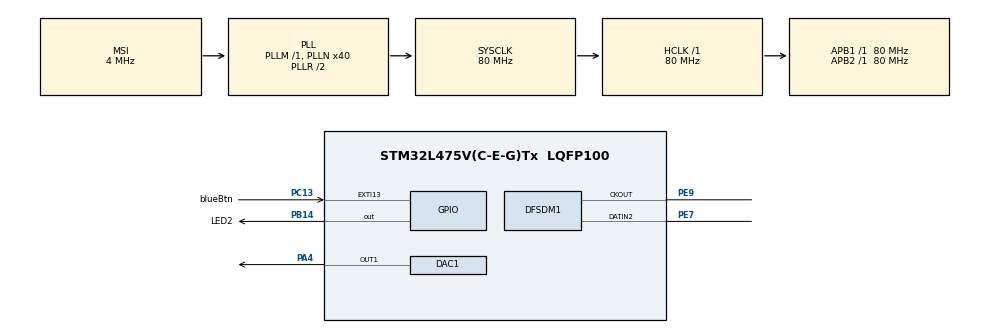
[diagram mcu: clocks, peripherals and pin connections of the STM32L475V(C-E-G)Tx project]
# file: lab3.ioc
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DAC1.DAC_SampleAndHold-DAC_OUT1=DAC_SAMPLEANDHOLD_DISABLE
DAC1.DAC_Trigger-DAC_OUT1=DAC_TRIGGER_T2_TRGO
DAC1.DAC_UserTrimming-DAC_OUT1=DAC_TRIMMING_FACTORY
DFSDM1.Divider=40
DFSDM1.DmaMode_reg_FIL0=ENABLE
DFSDM1.FastMode_reg_FIL0=ENABLE
DFSDM1.Filter_regChannel_FIL0=DFSDM_CHANNEL_2
DFSDM1.Fosr_FIL0=50
DFSDM1.SincOrder_FIL0=DFSDM_FILTER_SINC3_ORDER
Dma.DAC_CH1.0.Direction=DMA_MEMORY_TO_PERIPH
Dma.DAC_CH1.0.Instance=DMA1_Channel3
Dma.DAC_CH1.0.MemDataAlignment=DMA_MDATAALIGN_WORD
Dma.DAC_CH1.0.MemInc=DMA_MINC_ENABLE
Dma.DAC_CH1.0.Mode=DMA_CIRCULAR
Dma.DAC_CH1.0.PeriphDataAlignment=DMA_PDATAALIGN_WORD
Dma.DAC_CH1.0.PeriphInc=DMA_PINC_DISABLE
Dma.DAC_CH1.0.Priority=DMA_PRIORITY_LOW
Dma.DFSDM1_FLT0.1.Direction=DMA_PERIPH_TO_MEMORY
Dma.DFSDM1_FLT0.1.Instance=DMA1_Channel4
Dma.DFSDM1_FLT0.1.MemDataAlignment=DMA_MDATAALIGN_WORD
Dma.DFSDM1_FLT0.1.MemInc=DMA_MINC_ENABLE
Dma.DFSDM1_FLT0.1.Mode=DMA_NORMAL
Dma.DFSDM1_FLT0.1.PeriphDataAlignment=DMA_PDATAALIGN_WORD
Dma.DFSDM1_FLT0.1.PeriphInc=DMA_PINC_DISABLE
Dma.DFSDM1_FLT0.1.Priority=DMA_PRIORITY_LOW
Dma.Request0=DAC_CH1
Dma.Request1=DFSDM1_FLT0
Mcu.Family=STM32L4
Mcu.Name=STM32L475V(C-E-G)Tx
Mcu.Package=LQFP100
NVIC.DMA1_Channel3_IRQn=true\:0\:0\:false\:false\:true\:false\:true\:true
NVIC.DMA1_Channel4_IRQn=true\:0\:0\:false\:false\:true\:false\:true\:true
NVIC.EXTI15_10_IRQn=true\:0\:0\:false\:false\:true\:true\:true\:true
NVIC.PriorityGroup=NVIC_PRIORITYGROUP_4
NVIC.TIM2_IRQn=true\:0\:0\:false\:false\:true\:true\:true\:true
NVIC.TIM3_IRQn=true\:0\:0\:false\:false\:true\:true\:true\:true
PA13\ (JTMS-SWDIO).Signal=SYS_JTMS-SWDIO
PA4.Signal=COMP_DAC11_group
PB14.GPIO_Label=LED2
PB14.Signal=GPIO_Output
PB3\ (JTDO-TRACESWO).Signal=SYS_JTDO-SWO
PC13.GPIO_Label=blueBtn
PC13.Signal=GPXTI13
PE7.Signal=S_DATAIN2DFSDM1
PE9.Signal=S_CKOUTDFSDM1
ProjectManager.HeapSize=0x200
ProjectManager.StackSize=0x400
ProjectManager.TargetToolchain=STM32CubeIDE
RCC.ADCFreq_Value=48000000
RCC.AHBFreq_Value=80000000
RCC.APB1Freq_Value=80000000
RCC.APB1TimFreq_Value=80000000
RCC.APB2Freq_Value=80000000
RCC.APB2TimFreq_Value=80000000
RCC.CortexFreq_Value=80000000
RCC.HCLKFreq_Value=80000000
RCC.HSE_VALUE=8000000
RCC.HSI_VALUE=16000000
RCC.LSE_VALUE=32768
RCC.MSI_VALUE=4000000
RCC.PLLN=40
RCC.PLLSAI1N=24
RCC.SYSCLKFreq_VALUE=80000000
RCC.SYSCLKSource=RCC_SYSCLKSOURCE_PLLCLK
RCC.USBFreq_Value=48000000
RCC.VCOOutputFreq_Value=160000000
SH.COMP_DAC11_group.0=DAC1_OUT1,DAC_OUT1
SH.S_CKOUTDFSDM1.0=DFSDM1_CKOUT,PDM_SPI_input_from_ch2_and_internal_clock
SH.S_CKOUTDFSDM1.1=DFSDM1_CKOUT,CKOUT
SH.S_DATAIN2DFSDM1.0=DFSDM1_DATIN2,PDM_SPI_input_from_ch2_and_internal_clock
TIM2.Period=2000
TIM2.TIM_MasterOutputTrigger=TIM_TRGO_UPDATE
TIM3.TIM_MasterOutputTrigger=TIM_TRGO_UPDATE
VP_TIM2_VS_ClockSourceINT.Mode=Internal
VP_TIM3_VS_ClockSourceINT.Mode=Internal
board=B-L475E-IOT01A1

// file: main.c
/* USER CODE BEGIN Header */
/**
  ******************************************************************************
  * @file           : main.c
  * @brief          : Main program body
  ******************************************************************************
  * @attention
  *
  * Copyright (c) 2023 STMicroelectronics.
  * All rights reserved.
  *
  * This software is licensed under terms that can be found in the LICENSE file
  * in the root directory of this software component.
  * If no LICENSE file comes with this software, it is provided AS-IS.
  *
  ******************************************************************************
  */
/* USER CODE END Header */
#include "main.h"

/* USER CODE BEGIN Includes */
#define ARM_MATH_CM4
#include "arm_math.h"
#include <limits.h>
/* USER CODE END Includes */

/* USER CODE BEGIN PTD */
#define ITM_Port32(n) (*((volatile unsigned long *) (0xE0000000+4*n)))
/* USER CODE END PTD */

DAC_HandleTypeDef hdac1;
DMA_HandleTypeDef hdma_dac_ch1;

DFSDM_Filter_HandleTypeDef hdfsdm1_filter0;
DFSDM_Channel_HandleTypeDef hdfsdm1_channel2;
DMA_HandleTypeDef hdma_dfsdm1_flt0;

TIM_HandleTypeDef htim2;
TIM_HandleTypeDef htim3;

/* USER CODE BEGIN PV */
uint32_t sineValueC7[20]=
		{100, 131, 159, 181, 195, 200, 195, 181,
				159, 131, 100, 69, 41, 19, 5, 0,
				5, 19, 41, 69};

uint32_t sineValue1400[29]=
		{100, 121, 142, 161, 176, 188, 196, 200,
				199, 193, 183, 169, 152, 132, 111, 89,
				68, 48, 31, 17, 7, 1, 0, 4,
				12, 24, 39, 58, 79};

uint32_t sineValueC6[40]=
		{100, 116, 131, 145, 159, 171, 181, 189,
				195, 199, 200, 199, 195, 189, 181, 171,
				159, 145, 131, 116, 100, 84, 69, 55,
				41, 29, 19, 11, 5, 1, 0, 1,
				5, 11, 19, 29, 41, 55, 69, 84};

uint32_t sineValue1600[25]=
		{100, 125, 148, 168, 184, 195, 200, 198,
				190, 177, 159, 137, 113, 87, 63, 41,
				23, 10, 2, 0, 5, 16, 32, 52,
				75};

uint32_t sineValue1200[33]=
		{100, 119, 137, 154, 169, 181, 191, 197,
				200, 199, 195, 187, 176, 162, 146, 128,
				110, 90, 72, 54, 38, 24, 13, 5,
				1, 0, 3, 9, 19, 31, 46, 63,
				81};

uint32_t sineValue1800[23]=
		{100, 127, 152, 173, 189, 198, 200, 194,
				182, 163, 140, 114, 86, 60, 37, 18,
				6, 0, 2, 11, 27, 48, 73};

	int counter = 0;

	int flag = 0;
	int loopDMA = 0;
	int toneNum = 0;
	int bufferSize = 20000;
	int32_t micBuffer[20000];

	void HAL_GPIO_EXTI_Callback(uint16_t GPIO_Pin);
	void HAL_TIM_PeriodElapsedCallback(TIM_HandleTypeDef *htim);
/* USER CODE END PV */

void SystemClock_Config(void);
static void MX_GPIO_Init(void);
static void MX_DMA_Init(void);
static void MX_DAC1_Init(void);
static void MX_TIM2_Init(void);
static void MX_DFSDM1_Init(void);
static void MX_TIM3_Init(void);

int main(void)
{

  /* MCU Configuration--------------------------------------------------------*/

  /* Reset of all peripherals, Initializes the Flash interface and the Systick. */
  HAL_Init();

  /* Configure the system clock */
  SystemClock_Config();

  /* Initialize all configured peripherals */
  MX_GPIO_Init();
  MX_DMA_Init();
  MX_DAC1_Init();
  MX_TIM2_Init();
  MX_DFSDM1_Init();
  MX_TIM3_Init();
  /* USER CODE BEGIN 2 */
  		HAL_TIM_Base_Start_IT(&htim2);

  /* USER CODE END 2 */

  /* Infinite loop */
  while (1)
  {

  }
}

void SystemClock_Config(void)
{
  RCC_OscInitTypeDef RCC_OscInitStruct = {0};
  RCC_ClkInitTypeDef RCC_ClkInitStruct = {0};

  /** Configure the main internal regulator output voltage
  */
  if (HAL_PWREx_ControlVoltageScaling(PWR_REGULATOR_VOLTAGE_SCALE1) != HAL_OK)
  {
    Error_Handler();
  }

  /** Initializes the RCC Oscillators according to the specified parameters
  * in the RCC_OscInitTypeDef structure.
  */
  RCC_OscInitStruct.OscillatorType = RCC_OSCILLATORTYPE_MSI;
  RCC_OscInitStruct.MSIState = RCC_MSI_ON;
  RCC_OscInitStruct.MSICalibrationValue = 0;
  RCC_OscInitStruct.MSIClockRange = RCC_MSIRANGE_6;
  RCC_OscInitStruct.PLL.PLLState = RCC_PLL_ON;
  RCC_OscInitStruct.PLL.PLLSource = RCC_PLLSOURCE_MSI;
  RCC_OscInitStruct.PLL.PLLM = 1;
  RCC_OscInitStruct.PLL.PLLN = 40;
  RCC_OscInitStruct.PLL.PLLP = RCC_PLLP_DIV7;
  RCC_OscInitStruct.PLL.PLLQ = RCC_PLLQ_DIV2;
  RCC_OscInitStruct.PLL.PLLR = RCC_PLLR_DIV2;
  if (HAL_RCC_OscConfig(&RCC_OscInitStruct) != HAL_OK)
  {
    Error_Handler();
  }

  /** Initializes the CPU, AHB and APB buses clocks
  */
  RCC_ClkInitStruct.ClockType = RCC_CLOCKTYPE_HCLK|RCC_CLOCKTYPE_SYSCLK
                              |RCC_CLOCKTYPE_PCLK1|RCC_CLOCKTYPE_PCLK2;
  RCC_ClkInitStruct.SYSCLKSource = RCC_SYSCLKSOURCE_PLLCLK;
  RCC_ClkInitStruct.AHBCLKDivider = RCC_SYSCLK_DIV1;
  RCC_ClkInitStruct.APB1CLKDivider = RCC_HCLK_DIV1;
  RCC_ClkInitStruct.APB2CLKDivider = RCC_HCLK_DIV1;

  if (HAL_RCC_ClockConfig(&RCC_ClkInitStruct, FLASH_LATENCY_4) != HAL_OK)
  {
    Error_Handler();
  }
}

static void MX_DAC1_Init(void)
{

  DAC_ChannelConfTypeDef sConfig = {0};

  /** DAC Initialization
  */
  hdac1.Instance = DAC1;
  if (HAL_DAC_Init(&hdac1) != HAL_OK)
  {
    Error_Handler();
  }

  /** DAC channel OUT1 config
  */
  sConfig.DAC_SampleAndHold = DAC_SAMPLEANDHOLD_DISABLE;
  sConfig.DAC_Trigger = DAC_TRIGGER_T2_TRGO;
  sConfig.DAC_OutputBuffer = DAC_OUTPUTBUFFER_ENABLE;
  sConfig.DAC_ConnectOnChipPeripheral = DAC_CHIPCONNECT_DISABLE;
  sConfig.DAC_UserTrimming = DAC_TRIMMING_FACTORY;
  if (HAL_DAC_ConfigChannel(&hdac1, &sConfig, DAC_CHANNEL_1) != HAL_OK)
  {
    Error_Handler();
  }

}

static void MX_DFSDM1_Init(void)
{

  hdfsdm1_filter0.Instance = DFSDM1_Filter0;
  hdfsdm1_filter0.Init.RegularParam.Trigger = DFSDM_FILTER_SW_TRIGGER;
  hdfsdm1_filter0.Init.RegularParam.FastMode = ENABLE;
  hdfsdm1_filter0.Init.RegularParam.DmaMode = ENABLE;
  hdfsdm1_filter0.Init.FilterParam.SincOrder = DFSDM_FILTER_SINC3_ORDER;
  hdfsdm1_filter0.Init.FilterParam.Oversampling = 50;
  hdfsdm1_filter0.Init.FilterParam.IntOversampling = 1;
  if (HAL_DFSDM_FilterInit(&hdfsdm1_filter0) != HAL_OK)
  {
    Error_Handler();
  }
  hdfsdm1_channel2.Instance = DFSDM1_Channel2;
  hdfsdm1_channel2.Init.OutputClock.Activation = ENABLE;
  hdfsdm1_channel2.Init.OutputClock.Selection = DFSDM_CHANNEL_OUTPUT_CLOCK_SYSTEM;
  hdfsdm1_channel2.Init.OutputClock.Divider = 40;
  hdfsdm1_channel2.Init.Input.Multiplexer = DFSDM_CHANNEL_EXTERNAL_INPUTS;
  hdfsdm1_channel2.Init.Input.DataPacking = DFSDM_CHANNEL_STANDARD_MODE;
  hdfsdm1_channel2.Init.Input.Pins = DFSDM_CHANNEL_SAME_CHANNEL_PINS;
  hdfsdm1_channel2.Init.SerialInterface.Type = DFSDM_CHANNEL_SPI_RISING;
  hdfsdm1_channel2.Init.SerialInterface.SpiClock = DFSDM_CHANNEL_SPI_CLOCK_INTERNAL;
  hdfsdm1_channel2.Init.Awd.FilterOrder = DFSDM_CHANNEL_FASTSINC_ORDER;
  hdfsdm1_channel2.Init.Awd.Oversampling = 1;
  hdfsdm1_channel2.Init.Offset = 0;
  hdfsdm1_channel2.Init.RightBitShift = 0x00;
  if (HAL_DFSDM_ChannelInit(&hdfsdm1_channel2) != HAL_OK)
  {
    Error_Handler();
  }
  if (HAL_DFSDM_FilterConfigRegChannel(&hdfsdm1_filter0, DFSDM_CHANNEL_2, DFSDM_CONTINUOUS_CONV_ON) != HAL_OK)
  {
    Error_Handler();
  }

}

static void MX_TIM2_Init(void)
{

  TIM_ClockConfigTypeDef sClockSourceConfig = {0};
  TIM_MasterConfigTypeDef sMasterConfig = {0};

  htim2.Instance = TIM2;
  htim2.Init.Prescaler = 0;
  htim2.Init.CounterMode = TIM_COUNTERMODE_UP;
  htim2.Init.Period = 2000;
  htim2.Init.ClockDivision = TIM_CLOCKDIVISION_DIV1;
  htim2.Init.AutoReloadPreload = TIM_AUTORELOAD_PRELOAD_DISABLE;
  if (HAL_TIM_Base_Init(&htim2) != HAL_OK)
  {
    Error_Handler();
  }
  sClockSourceConfig.ClockSource = TIM_CLOCKSOURCE_INTERNAL;
  if (HAL_TIM_ConfigClockSource(&htim2, &sClockSourceConfig) != HAL_OK)
  {
    Error_Handler();
  }
  sMasterConfig.MasterOutputTrigger = TIM_TRGO_UPDATE;
  sMasterConfig.MasterSlaveMode = TIM_MASTERSLAVEMODE_DISABLE;
  if (HAL_TIMEx_MasterConfigSynchronization(&htim2, &sMasterConfig) != HAL_OK)
  {
    Error_Handler();
  }
  /* USER CODE BEGIN TIM2_Init 2 */
//  HAL_TIM_Base_Start_IT(&htim2);
  /* USER CODE END TIM2_Init 2 */

}

static void MX_TIM3_Init(void)
{

  TIM_ClockConfigTypeDef sClockSourceConfig = {0};
  TIM_MasterConfigTypeDef sMasterConfig = {0};

  htim3.Instance = TIM3;
  htim3.Init.Prescaler = 0;
  htim3.Init.CounterMode = TIM_COUNTERMODE_UP;
  htim3.Init.Period = 65535;
  htim3.Init.ClockDivision = TIM_CLOCKDIVISION_DIV1;
  htim3.Init.AutoReloadPreload = TIM_AUTORELOAD_PRELOAD_DISABLE;
  if (HAL_TIM_Base_Init(&htim3) != HAL_OK)
  {
    Error_Handler();
  }
  sClockSourceConfig.ClockSource = TIM_CLOCKSOURCE_INTERNAL;
  if (HAL_TIM_ConfigClockSource(&htim3, &sClockSourceConfig) != HAL_OK)
  {
    Error_Handler();
  }
  sMasterConfig.MasterOutputTrigger = TIM_TRGO_UPDATE;
  sMasterConfig.MasterSlaveMode = TIM_MASTERSLAVEMODE_DISABLE;
  if (HAL_TIMEx_MasterConfigSynchronization(&htim3, &sMasterConfig) != HAL_OK)
  {
    Error_Handler();
  }

}

static void MX_DMA_Init(void)
{

  /* DMA controller clock enable */
  __HAL_RCC_DMA1_CLK_ENABLE();

  /* DMA interrupt init */
  /* DMA1_Channel3_IRQn interrupt configuration */
  HAL_NVIC_SetPriority(DMA1_Channel3_IRQn, 0, 0);
  HAL_NVIC_EnableIRQ(DMA1_Channel3_IRQn);
  /* DMA1_Channel4_IRQn interrupt configuration */
  HAL_NVIC_SetPriority(DMA1_Channel4_IRQn, 0, 0);
  HAL_NVIC_EnableIRQ(DMA1_Channel4_IRQn);

}

static void MX_GPIO_Init(void)
{
  GPIO_InitTypeDef GPIO_InitStruct = {0};

  /* GPIO Ports Clock Enable */
  __HAL_RCC_GPIOC_CLK_ENABLE();
  __HAL_RCC_GPIOA_CLK_ENABLE();
  __HAL_RCC_GPIOE_CLK_ENABLE();
  __HAL_RCC_GPIOB_CLK_ENABLE();

  /*Configure GPIO pin Output Level */
  HAL_GPIO_WritePin(LED2_GPIO_Port, LED2_Pin, GPIO_PIN_RESET);

  /*Configure GPIO pin : blueBtn_Pin */
  GPIO_InitStruct.Pin = blueBtn_Pin;
  GPIO_InitStruct.Mode = GPIO_MODE_IT_RISING;
  GPIO_InitStruct.Pull = GPIO_NOPULL;
  HAL_GPIO_Init(blueBtn_GPIO_Port, &GPIO_InitStruct);

  /*Configure GPIO pin : LED2_Pin */
  GPIO_InitStruct.Pin = LED2_Pin;
  GPIO_InitStruct.Mode = GPIO_MODE_OUTPUT_PP;
  GPIO_InitStruct.Pull = GPIO_NOPULL;
  GPIO_InitStruct.Speed = GPIO_SPEED_FREQ_LOW;
  HAL_GPIO_Init(LED2_GPIO_Port, &GPIO_InitStruct);

  /* EXTI interrupt init*/
  HAL_NVIC_SetPriority(EXTI15_10_IRQn, 0, 0);
  HAL_NVIC_EnableIRQ(EXTI15_10_IRQn);

}

/* USER CODE BEGIN 4 */
/*-------------------------------------------PART_1--------------------------------------------------*/
//void HAL_TIM_PeriodElapsedCallback(TIM_HandleTypeDef *htim){
//	HAL_DAC_Start(&hdac1, DAC_CHANNEL_1);
//	HAL_DAC_SetValue(&hdac1, DAC_CHANNEL_1, DAC_ALIGN_8B_R, sineValue[counter]);
//	if(counter == 19){
//		counter = 0;
//	}else{
//		counter++;
//	}
//}
/*-------------------------------------------PART_1--------------------------------------------------*/

/*---------------------------------------------PART_2--------------------------------------------------*/
//void HAL_GPIO_EXTI_Callback(uint16_t GPIO_Pin){
//	if(GPIO_Pin == blueBtn_Pin){
//		HAL_GPIO_TogglePin(LED2_GPIO_Port, LED2_Pin);
//		if(HAL_GPIO_ReadPin (LED2_GPIO_Port, LED2_Pin)== 0){
//			HAL_TIM_Base_Stop_IT(&htim2);
//		} else {
//			HAL_TIM_Base_Start_IT(&htim2);
//			HAL_DAC_Start(&hdac1, DAC_CHANNEL_1);
//			HAL_DAC_Start_DMA(&hdac1, DAC_CHANNEL_1, sineValueC7, 20, DAC_ALIGN_8B_R);
//		}
//	}

//	if (GPIO_Pin == blueBtn_Pin){
//		HAL_GPIO_TogglePin(LED2_GPIO_Port, LED2_Pin);
//	}
//
//	HAL_TIM_Base_Start_IT(&htim2);
//	HAL_DAC_Start(&hdac1, DAC_CHANNEL_1);
//	HAL_DAC_Start_DMA(&hdac1, DAC_CHANNEL_1, sineValueC7, 20, DAC_ALIGN_8B_R);
//}
/*----------------------------------------------PART_2--------------------------------------------------*/

/*-------------------------------------PART_3--------------------------------------------------*/
/*
void HAL_GPIO_EXTI_Callback(uint16_t GPIO_Pin){
	//blink
	if (GPIO_Pin == blueBtn_Pin){
		HAL_GPIO_WritePin(LED2_GPIO_Port, LED2_Pin, 1);
	}

	HAL_TIM_Base_Start_IT(&htim2);
	HAL_TIM_Base_Start_IT(&htim3);
	HAL_DFSDM_FilterRegularStart_DMA(&hdfsdm1_filter0, micBuffer, bufferSize);
}

void HAL_DFSDM_FilterRegConvCpltCallback (DFSDM_Filter_HandleTypeDef * hdfsdm_filter){
	HAL_DAC_Start(&hdac1, DAC_CHANNEL_1);

	//find the max and the min value in micBuffer
	for(int i = 0; i < bufferSize; i++){
		micBuffer[i] >> 8;//discard the useless 8 bits
	}

	int max = INT_MIN;
	int min = INT_MAX;
	for(int i = 0; i < bufferSize; i++){
		if(micBuffer[i] < min){
			min = micBuffer[i];
		}
		if(micBuffer[i] > max){
			max = micBuffer[i];
		}
	}
	float diff = max - min;

	for(int i = 0; i < bufferSize; i++){
		micBuffer[i] = (uint32_t)(((micBuffer[i]-min)/(diff))*4000);
	}

	HAL_TIM_Base_Stop_IT(&htim3);

	HAL_DAC_Start_DMA(&hdac1, DAC_CHANNEL_1, micBuffer, bufferSize, DAC_ALIGN_12B_L);
	HAL_DFSDM_FilterRegularStop_DMA(&hdfsdm1_filter0);
	HAL_GPIO_WritePin(LED2_GPIO_Port, LED2_Pin, 0);

}

void HAL_TIM_PeriodElapsedCallback(TIM_HandleTypeDef *htim){
	if(htim == &htim3){
		counter++;
		if(counter == 100){
			HAL_GPIO_TogglePin(LED2_GPIO_Port, LED2_Pin);
			counter = 0;
		}
	}
}
*/
/*-----------------------------------PART_3--------------------------------------------------------*/

/*---------------------------------------------PART_4--------------------------------------------------------*/

/*HAL_GPIO_EXTI_Callback: Detect button press. If pressed, go into this function*/

void HAL_GPIO_EXTI_Callback(uint16_t GPIO_Pin){
	if (GPIO_Pin == blueBtn_Pin){
		HAL_GPIO_TogglePin(LED2_GPIO_Port, LED2_Pin);
		flag++;
	}

	// Start rec.
	if(flag % 2 == 1){
		HAL_DFSDM_FilterRegularStart_DMA(&hdfsdm1_filter0, micBuffer, bufferSize);//rec
		//play back
	}else if(flag % 2 == 0){
			if(toneNum > 6){
				toneNum = 0;
			}

			HAL_DAC_Stop_DMA(&hdac1, DAC_CHANNEL_1);
			for(loopDMA = 0; loopDMA <=900000 && toneNum == 0; loopDMA++){
				HAL_DAC_Start(&hdac1, DAC_CHANNEL_1);
				HAL_DAC_Start_DMA(&hdac1, DAC_CHANNEL_1, sineValueC7, 20, DAC_ALIGN_12B_R);
				if(loopDMA == 900000){
					loopDMA = 0;
					toneNum++;
				}
			}

			HAL_DAC_Stop_DMA(&hdac1, DAC_CHANNEL_1);
			for(loopDMA = 0; loopDMA <=900000 && toneNum == 1; loopDMA++){
				HAL_DAC_Start_DMA(&hdac1, DAC_CHANNEL_1, sineValue1400, 29, DAC_ALIGN_12B_R);
				if(loopDMA == 900000){
					loopDMA = 0;
					toneNum++;
				}
			}

			HAL_DAC_Stop_DMA(&hdac1, DAC_CHANNEL_1);
			for(loopDMA = 0; loopDMA <=900000 && toneNum == 2; loopDMA++){
				HAL_DAC_Start_DMA(&hdac1, DAC_CHANNEL_1, sineValueC6, 40, DAC_ALIGN_12B_R);
				if(loopDMA == 900000){
					loopDMA = 0;
					toneNum++;
				}
			}

			HAL_DAC_Stop_DMA(&hdac1, DAC_CHANNEL_1);
			for(loopDMA = 0; loopDMA <=900000 && toneNum == 3; loopDMA++){
				HAL_DAC_Start_DMA(&hdac1, DAC_CHANNEL_1, sineValue1600, 25, DAC_ALIGN_12B_R);
				if(loopDMA == 900000){
					loopDMA = 0;
					toneNum++;
				}
			}

			HAL_DAC_Stop_DMA(&hdac1, DAC_CHANNEL_1);
			for(loopDMA = 0; loopDMA <=900000 && toneNum == 4; loopDMA++){
				HAL_DAC_Start_DMA(&hdac1, DAC_CHANNEL_1, sineValue1200, 33, DAC_ALIGN_12B_R);
				if(loopDMA == 900000){
					loopDMA = 0;
					toneNum++;
				}
			}

			HAL_DAC_Stop_DMA(&hdac1, DAC_CHANNEL_1);
			for(loopDMA = 0; loopDMA <=900000 && toneNum == 5; loopDMA++){
				HAL_DAC_Start_DMA(&hdac1, DAC_CHANNEL_1, sineValue1800, 23, DAC_ALIGN_12B_R);
				if(loopDMA == 900000){
					loopDMA = 0;
					toneNum++;
				}
			}

			HAL_DAC_Stop_DMA(&hdac1, DAC_CHANNEL_1);
			for(loopDMA = 0; loopDMA <=900000 && toneNum == 6; loopDMA++){
				HAL_DAC_Start(&hdac1, DAC_CHANNEL_1);
				HAL_DAC_Start_DMA(&hdac1, DAC_CHANNEL_1, micBuffer, bufferSize, DAC_ALIGN_12B_R);
				HAL_DFSDM_FilterRegularStop_DMA(&hdfsdm1_filter0);
				if(loopDMA == 900000){
					loopDMA = 0;
					toneNum++;
					break;
				}
			}
	}

}

void HAL_DFSDM_FilterRegConvCpltCallback (DFSDM_Filter_HandleTypeDef * hdfsdm_filter){
		//find the max and the min value in micBuffer
		for(int i = 0; i < bufferSize; i++){
			micBuffer[i] >> 8;//discard the useless 8 bits
		}
		int max = INT_MIN;
		int min = INT_MAX;
		for(int i = 0; i < bufferSize; i++){
			if(micBuffer[i] < min){
				min = micBuffer[i];
			}
			if(micBuffer[i] > max){
				max = micBuffer[i];
			}
		}
		float diff = max - min;
		for(int i = 0; i < bufferSize; i++){
			micBuffer[i] = (uint32_t)(((micBuffer[i]-min)/(diff))*4000);
		}
		HAL_DAC_Start(&hdac1, DAC_CHANNEL_1);
}

/*---------------------------------------------PART_4--------------------------------------------------------*/

/* USER CODE END 4 */

void Error_Handler(void)
{
  __disable_irq();
  while (1)
  {
  }
}
